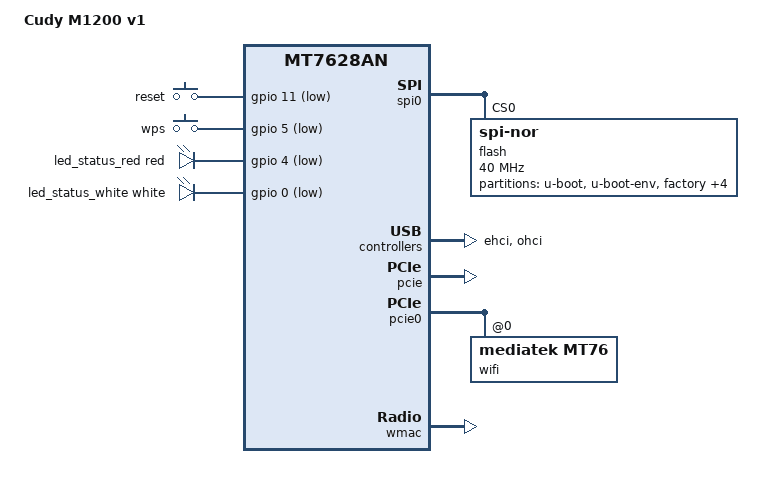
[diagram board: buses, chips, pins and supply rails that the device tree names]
// SPDX-License-Identifier: GPL-2.0-or-later OR MIT

#include "mt7628an.dtsi"

#include <dt-bindings/gpio/gpio.h>
#include <dt-bindings/input/input.h>
#include <dt-bindings/leds/common.h>

/ {
	compatible = "cudy,m1200-v1", "mediatek,mt7628an-soc";
	model = "Cudy M1200 v1";

	aliases {
		led-boot = &led_status_white;
		led-running = &led_status_white;
		led-failsafe = &led_status_red;
		led-upgrade = &led_status_red;
		label-mac-device = &ethernet;
	};

	chosen {
		bootargs = "console=ttyS0,115200";
	};

	gpio-keys {
		compatible = "gpio-keys";

		reset {
			label = "reset";
			linux,code = <KEY_RESTART>;
			gpios = <&gpio 11 GPIO_ACTIVE_LOW>;
		};
 

		wps {
 			label = "wps";
 			linux,code = <KEY_WPS_BUTTON>;
 			gpios = <&gpio 5 GPIO_ACTIVE_LOW>;
		};
	};

	leds {
		compatible = "gpio-leds";

		led_status_red: led-status-red {
			function = LED_FUNCTION_STATUS;
			color = <LED_COLOR_ID_RED>;
			gpios = <&gpio 4 GPIO_ACTIVE_LOW>;
		};

		led_status_white: led-status-white {
			function = LED_FUNCTION_STATUS;
			color = <LED_COLOR_ID_WHITE>;
			gpios = <&gpio 0 GPIO_ACTIVE_LOW>;
		};
	};
};

&spi0 {
	status = "okay";

	flash@0 {
		compatible = "jedec,spi-nor";
		reg = <0>;
		spi-max-frequency = <40000000>;

		partitions {
			compatible = "fixed-partitions";
			#address-cells = <1>;
			#size-cells = <1>;

			partition@0 {
				label = "u-boot";
				reg = <0x0 0x30000>;
				read-only;
			};

			partition@30000 {
				label = "u-boot-env";
				reg = <0x30000 0x10000>;
				read-only;
			};

			partition@40000 {
				label = "factory";
				reg = <0x40000 0x10000>;
				read-only;

				nvmem-layout {
					compatible = "fixed-layout";
					#address-cells = <1>;
					#size-cells = <1>;

					eeprom_factory_0: eeprom@0 {
						reg = <0x0 0x400>;
					};

					eeprom_factory_8000: eeprom@8000 {
						reg = <0x8000 0x4da8>;
					};
				};
			};

			partition@50000 {
				compatible = "denx,uimage";
				label = "firmware";
				reg = <0x50000 0xf80000>;
			};

			partition@fd0000 {
				label = "debug";
				reg = <0xfd0000 0x10000>;
				read-only;
			};

			partition@fe0000 {
				label = "backup";
				reg = <0xfe000 0x10000>;
				read-only;
			};

			partition@ff0000 {
				label = "bdinfo";
				reg = <0xff0000 0x10000>;
				read-only;

				nvmem-layout {
					compatible = "fixed-layout";
					#address-cells = <1>;
					#size-cells = <1>;

					macaddr_bdinfo_de00: macaddr@de00 {
						compatible = "mac-base";
						reg = <0xde00 0x6>;
						#nvmem-cell-cells = <1>;
					};
				};
			};
		};
	};
};

&state_default {
	gpio {
		groups = "i2c", "gpio", "wdt", "p0led_an", "wled_an";
		function = "gpio";
	};
};

&ehci {
	status = "okay";
};

&ohci {
	status = "okay";
};

&pcie {
	status = "okay";
};

&pcie0 {
	wifi@0,0 {
		compatible = "mediatek,mt76";
		reg = <0x0000 0 0 0 0>;
		nvmem-cells = <&eeprom_factory_8000>, <&macaddr_bdinfo_de00 2>;
		nvmem-cell-names = "eeprom", "mac-address";
		ieee80211-freq-limit = <5000000 6000000>;
	};
};

&wmac {
	status = "okay";

	nvmem-cells = <&eeprom_factory_0>, <&macaddr_bdinfo_de00 1>;
	nvmem-cell-names = "eeprom", "mac-address";
};

&ethernet {
	nvmem-cells = <&macaddr_bdinfo_de00 0>;
	nvmem-cell-names = "mac-address";
};

&esw {
	mediatek,portmap = <0x3d>;
	mediatek,portdisable = <0x3c>;
};
